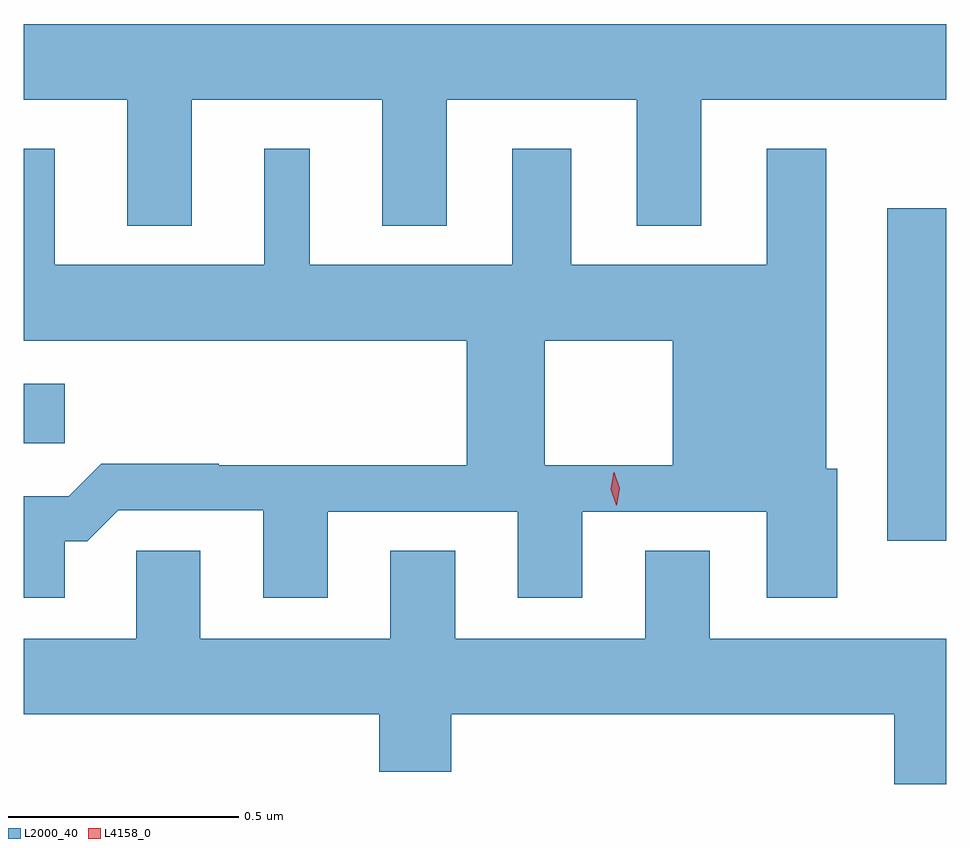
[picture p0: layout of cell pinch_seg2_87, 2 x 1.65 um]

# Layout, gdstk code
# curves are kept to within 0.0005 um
import gdstk
lib = gdstk.Library(unit=1e-6, precision=1e-09)
def R(c, l, rs):  # rectangles x0, y0, x1, y1
    for r in rs: c.add(gdstk.rectangle(r[:2], r[2:], *l))
def P(c, l, *ps):  # polygons
    for p in ps: c.add(gdstk.Polygon(p, *l))
L2000_40 = (2000, 40)
L4158_0 = (4158, 0)

pinch_seg2_87 = lib.new_cell('pinch_seg2_87')
R(pinch_seg2_87, L2000_40, [(1080.662,660,1080.79,660.721), (1078.79,660.211,1078.879,660.34)])
P(pinch_seg2_87, L2000_40, [(1079.155,660.956),(1079.567,660.956),(1079.567,660.683),(1079.707,660.683),(1079.707,660.956),(1080.119,660.956),(1080.119,660.683),(1080.259,660.683),(1080.259,660.956),(1080.79,660.956),(1080.79,661.12),(1078.79,661.12),(1078.79,660.956),(1079.015,660.956),(1079.015,660.683),(1079.155,660.683)],
  [(1079.213,660.167),(1078.958,660.167),(1078.888,660.097),(1078.79,660.097),(1078.79,659.877),(1078.879,659.877),(1078.879,659.999),(1078.928,659.999),(1078.995,660.066),(1079.309,660.066),(1079.309,659.877),(1079.449,659.877),(1079.449,660.063),(1079.861,660.063),(1079.861,659.877),(1080.001,659.877),(1080.001,660.063),(1080.401,660.063),(1080.401,659.877),(1080.553,659.877),(1080.553,660.156),(1080.529,660.156),(1080.529,660.85),(1080.401,660.85),(1080.401,660.598),(1079.977,660.598),(1079.977,660.85),(1079.849,660.85),(1079.849,660.598),(1079.41,660.598),(1079.41,660.85),(1079.312,660.85),(1079.312,660.598),(1078.858,660.598),(1078.858,660.85),(1078.79,660.85),(1078.79,660.434),(1079.75,660.434),(1079.75,660.164),(1079.92,660.164),(1079.92,660.434),(1080.197,660.434),(1080.197,660.164),(1079.213,660.164)],
  [(1080.79,659.788),(1080.277,659.788),(1080.277,659.978),(1080.137,659.978),(1080.137,659.788),(1079.725,659.788),(1079.725,659.978),(1079.585,659.978),(1079.585,659.788),(1079.173,659.788),(1079.173,659.978),(1079.034,659.978),(1079.034,659.788),(1078.79,659.788),(1078.79,659.624),(1079.561,659.624),(1079.561,659.5),(1079.717,659.5),(1079.717,659.624),(1080.677,659.624),(1080.677,659.473),(1080.79,659.473)])
P(pinch_seg2_87, L4158_0, [(1080.074,660.077),(1080.074,660.077),(1080.062,660.112),(1080.069,660.149),(1080.069,660.149),(1080.07,660.149),(1080.082,660.114),(1080.075,660.077)])

lib.write_gds('pinch_seg2_87.gds')
